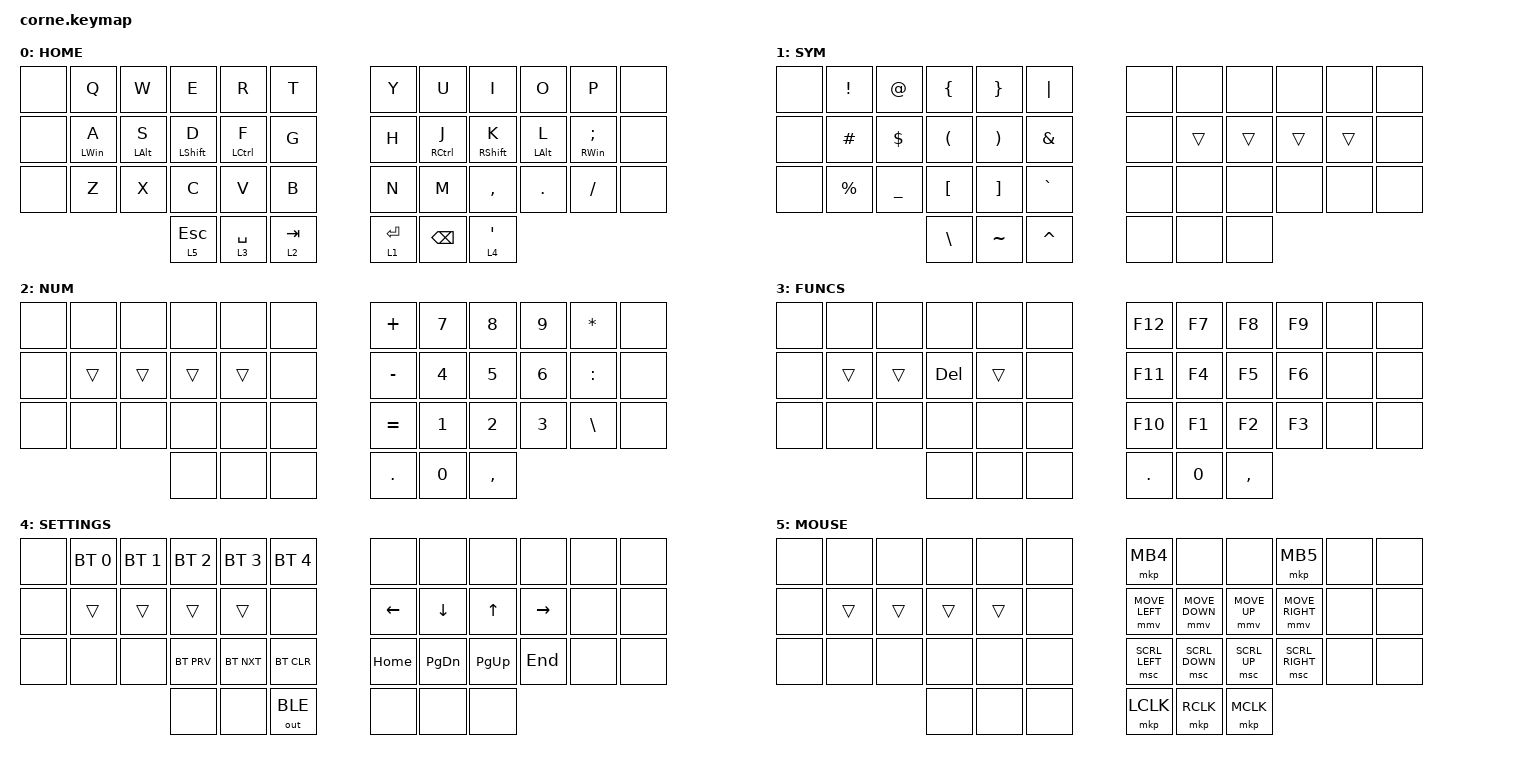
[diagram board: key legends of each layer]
/*
 * Copyright (c) 2020 The ZMK Contributors
 *
 * SPDX-License-Identifier: MIT
 */

#include <behaviors.dtsi>
#include <dt-bindings/zmk/keys.h>
#include <dt-bindings/zmk/bt.h>
#include <dt-bindings/zmk/outputs.h>
#include <dt-bindings/zmk/pointing.h>

// layers
#define BASE 0
#define SYM 1
#define NUM 2
#define FUNCS 3
#define SETTINGS 4
#define MOUSE 5

// Mouse settings
#define ZMK_POINTING_DEFAULT_MOVE_VAL 1500  // default: 600
#define ZMK_POINTING_DEFAULT_SCRL_VAL 20    // default: 10

/ {
    behaviors {
        hm: homerow_mods {
            compatible = "zmk,behavior-hold-tap";
            bindings = <&kp>, <&kp>;

            #binding-cells = <2>;
            tapping-term-ms = <200>;
            flavor = "tap-preferred";
            require-prior-idle-ms = <125>;
            quick-tap-ms = <200>;
        };

        shifthr: shifthr {
            compatible = "zmk,behavior-hold-tap";
            bindings = <&kp>, <&kp>;

            #binding-cells = <2>;
            tapping-term-ms = <175>;
            flavor = "tap-preferred";
            quick-tap-ms = <175>;
        };

        weak: weak {
            compatible = "zmk,behavior-hold-tap";
            bindings = <&kp>, <&kp>;

            #binding-cells = <2>;
            tapping-term-ms = <230>;
            flavor = "tap-preferred";
            require-prior-idle-ms = <125>;
            quick-tap-ms = <230>;
        };

    };

    macros {
        enie: enie {
            compatible = "zmk,behavior-macro";
            #binding-cells = <0>;

            bindings = <
            &macro_press &kp RALT
            &macro_tap &kp N
            &macro_release &kp RALT
            >;
        };
    };

    combos {
        compatible = "zmk,combos";

        caps {
            bindings = <&kp CAPS>;
            key-positions = <15 20>; // key: D, K
        };

        // escape {
            //         bindings = <&kp ESCAPE>;
            //         key-positions = <1 2>; // key: Q, W
        // };


        under {
            bindings = <&kp UNDER>;
            key-positions = <28 31>; // key: V, M
        };

        dash {
            bindings = <&kp MINUS>;
            key-positions = <4 7>; // key: R, U
            timeout-ms = <40>;         // Más corto que tus HRM para evitar conflictos
        };

        enie_combo {
            timeout-ms = <40>;
            key-positions = <21 22>; // L + ;
            bindings = <&enie>;
        };
    };

    keymap {
        compatible = "zmk,keymap";

        home {
            // -----------------------------------------------------------------------------------------
            // |  TAB |  Q  |  W  |  E  |  R  |  T  |   |  Y  |  U   |  I  |  O  |  P  | BSPC |
            // | CTRL |  A  |  S  |  D  |  F  |  G  |   |  H  |  J   |  K  |  L  |  ;  |  '   |
            // | SHFT |  Z  |  X  |  C  |  V  |  B  |   |  N  |  M   |  ,  |  .  |  /  | ESC  |
            //                    | ESC | SPC | TAB |   | ENT | BSP  | QOT |
            bindings = <
            &none  &kp Q &kp W &kp E &kp R &kp T   &kp Y &kp U  &kp I   &kp O  &kp P   &none
            &none  &weak LWIN A &weak LALT S &shifthr LSHFT D &shifthr LCTRL F &kp G   &kp H &shifthr RCTRL J  &shifthr RSHFT K   &weak LALT L   &weak RWIN SEMI  &none
            &none  &kp Z &kp X &kp C &kp V &kp B   &kp N &kp M  &kp COMMA &kp DOT &kp FSLH &none
            &lt 5 ESCAPE &lt 3 SPACE &lt 2 TAB   &lt 1 RET &kp BSPC &lt 4 SQT
            >;

            label = "HOME";
        };

        sym {
            // -----------------------------------------------------------------------------------------
            // |  TAB |  1  |  2  |  3  |  4  |  5  |   |  6  |  7  |  8  |  9  |  0  | BSPC |
            // | BTCLR| BT1 | BT2 | BT3 | BT4 | BT5 |   | LFT | DWN |  UP | RGT |     |      |
            // | SHFT |     |     |     |     |     |   |     |     |     |     |     |      |
            //                    | GUI |     | SPC |   | ENT |     | ALT |
            bindings = <
            &none  &kp EXCL     &kp AT        &kp LEFT_BRACE     &kp RIGHT_BRACE        &kp PIPE    &none &none &none &none &none &none
            &none  &kp HASH  &kp DOLLAR  &kp LEFT_PARENTHESIS    &kp RIGHT_PARENTHESIS  &kp AMPS    &none &trans &trans &trans  &trans &none
            &none  &kp PERCENT   &kp UNDER    &kp LEFT_BRACKET   &kp RIGHT_BRACKET      &kp GRAVE   &none &none &none &none &none &none
            &kp BACKSLASH  &kp TILDE     &kp CARET      &none    &none      &none
            >;

            label = "SYM";
        };

        num {
            // -----------------------------------------------------------------------------------------
            // |  TAB |  !  |  @  |  #  |  $  |  %  |   |  ^  |  &  |  *  |  (  |  )  | BSPC |
            // | CTRL |     |     |     |     |     |   |  -  |  =  |  [  |  ]  |  \  |  `   |
            // | SHFT |     |     |     |     |     |   |  _  |  +  |  {  |  }  | "|" |  ~   |
            //                    | GUI |     | SPC |   | ENT |     | ALT |
            bindings = <
            &none &none &none &none &none &none        &kp PLUS   &kp N7  &kp N8  &kp N9  &kp ASTERISK   &none
            &none &trans &trans &trans  &trans &none   &kp MINUS  &kp N4  &kp N5  &kp N6  &kp COLON      &none
            &none &none &none &none &none &none        &kp EQUAL  &kp N1  &kp N2  &kp N3  &kp BACKSLASH  &none
            &none &none &none   &kp DOT   &kp N0    &kp COMMA
            >;

            label = "NUM";
        };

        funcs {
            // -----------------------------------------------------------------------------------------
            // |  TAB |  !  |  @  |  #  |  $  |  %  |   |  ^  |  &  |  *  |  (  |  )  | BSPC |
            // | CTRL |     |     |     |     |     |   |  -  |  =  |  [  |  ]  |  \  |  `   |
            // | SHFT |     |     |     |     |     |   |  _  |  +  |  {  |  }  | "|" |  ~   |
            //                    | GUI |     | SPC |   | ENT |     | ALT |
            bindings = <
            &none &none &none &none &none &none        &kp F12  &kp F7  &kp F8  &kp F9  &none  &none
            &none &trans &trans &kp DEL  &trans &none   &kp F11  &kp F4  &kp F5  &kp F6  &none  &none
            &none &none &none &none &none &none        &kp F10  &kp F1  &kp F2  &kp F3  &none  &none
            &none &none &none   &kp DOT   &kp N0    &kp COMMA
            >;

            label = "FUNCS";
        };

        settings {
            // -----------------------------------------------------------------------------------------
            // |  TAB |  1  |  2  |  3  |  4  |  5  |   |  6  |  7  |  8  |  9  |  0  | BSPC |
            // | BTCLR| BT1 | BT2 | BT3 | BT4 | BT5 |   | LFT | DWN |  UP | RGT |     |      |
            // | SHFT |     |     |     |     |     |   |     |     |     |     |     |      |
            //                    | GUI |     | SPC |   | ENT |     | ALT |
            bindings = <
            &none  &bt BT_SEL 0  &bt BT_SEL 1  &bt BT_SEL 2  &bt BT_SEL 3  &bt BT_SEL 4    &none &none &none &none &none &none
            &none  &trans  &trans  &trans  &trans &none    &kp LEFT_ARROW &kp DOWN &kp UP &kp RIGHT_ARROW &none &none
            &none  &none  &none  &bt BT_PRV  &bt BT_NXT &bt BT_CLR   &kp HOME &kp PG_DN &kp PG_UP &kp END &none &none
            &none  &none  &out OUT_BLE  &none  &none  &none
            >;

            label = "SETTINGS";
        };

        mouse {
            // -----------------------------------------------------------------------------------------
            // |  TAB |  !  |  @  |  #  |  $  |  %  |   |  ^  |  &  |  *  |  (  |  )  | BSPC |
            // | CTRL |     |     |     |     |     |   |  -  |  =  |  [  |  ]  |  \  |  `   |
            // | SHFT |     |     |     |     |     |   |  _  |  +  |  {  |  }  | "|" |  ~   |
            //                    | GUI |     | SPC |   | ENT |     | ALT |
            bindings = <
            &none &none &none &none &none &none         &mkp MB4  &none  &none  &mkp MB5  &none &none
            &none &trans &trans &trans  &trans &none    &mmv MOVE_LEFT  &mmv MOVE_DOWN  &mmv MOVE_UP  &mmv MOVE_RIGHT  &none &none
            &none &none &none &none &none &none         &msc SCRL_LEFT  &msc SCRL_DOWN  &msc SCRL_UP  &msc SCRL_RIGHT  &none &none
            &none &none &none   &mkp LCLK   &mkp RCLK    &mkp MCLK
            >;

            label = "MOUSE";
        };

    };
};
